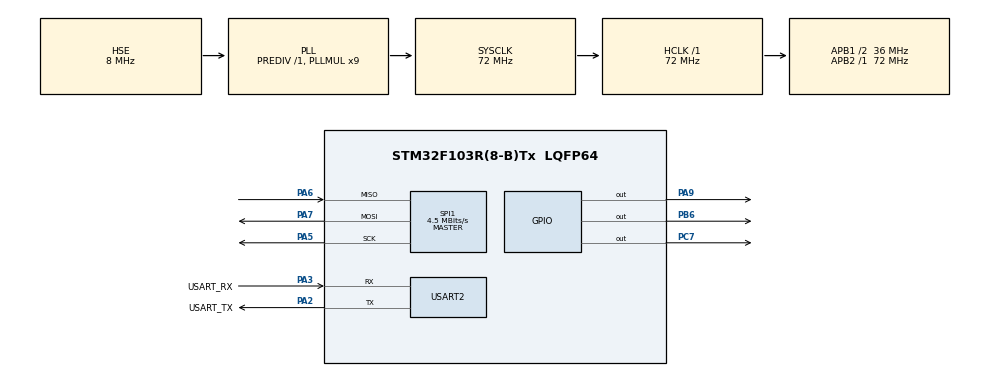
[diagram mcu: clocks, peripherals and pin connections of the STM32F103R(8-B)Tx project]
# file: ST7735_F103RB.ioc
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Dma.Request0=USART2_RX
Dma.USART2_RX.0.Direction=DMA_PERIPH_TO_MEMORY
Dma.USART2_RX.0.Instance=DMA1_Channel6
Dma.USART2_RX.0.MemDataAlignment=DMA_MDATAALIGN_BYTE
Dma.USART2_RX.0.MemInc=DMA_MINC_ENABLE
Dma.USART2_RX.0.Mode=DMA_CIRCULAR
Dma.USART2_RX.0.PeriphDataAlignment=DMA_PDATAALIGN_BYTE
Dma.USART2_RX.0.PeriphInc=DMA_PINC_DISABLE
Dma.USART2_RX.0.Priority=DMA_PRIORITY_LOW
Mcu.Family=STM32F1
Mcu.Name=STM32F103R(8-B)Tx
Mcu.Package=LQFP64
NVIC.DMA1_Channel6_IRQn=true\:0\:0\:false\:false\:true\:false\:true\:true
NVIC.PriorityGroup=NVIC_PRIORITYGROUP_4
NVIC.USART2_IRQn=true\:0\:0\:false\:false\:true\:true\:true\:true
PA13.GPIO_Label=TMS
PA13.Mode=Serial_Wire
PA13.Signal=SYS_JTMS-SWDIO
PA14.GPIO_Label=TCK
PA14.Mode=Serial_Wire
PA14.Signal=SYS_JTCK-SWCLK
PA2.GPIO_Label=USART_TX
PA2.GPIO_Mode=GPIO_MODE_AF_PP
PA2.GPIO_PuPd=GPIO_NOPULL
PA2.GPIO_Speed=GPIO_SPEED_FREQ_LOW
PA2.Mode=Asynchronous
PA2.Signal=USART2_TX
PA3.GPIO_Label=USART_RX
PA3.GPIO_Mode=GPIO_MODE_AF_PP
PA3.GPIO_PuPd=GPIO_NOPULL
PA3.GPIO_Speed=GPIO_SPEED_FREQ_LOW
PA3.Mode=Asynchronous
PA3.Signal=USART2_RX
PA5.Mode=Full_Duplex_Master
PA5.Signal=SPI1_SCK
PA6.Mode=Full_Duplex_Master
PA6.Signal=SPI1_MISO
PA7.Mode=Full_Duplex_Master
PA7.Signal=SPI1_MOSI
PA9.Signal=GPIO_Output
PB3.GPIO_Label=SWO
PB3.Signal=SYS_JTDO-TRACESWO
PB6.Signal=GPIO_Output
PC14-OSC32_IN.Mode=LSE-External-Oscillator
PC14-OSC32_IN.Signal=RCC_OSC32_IN
PC15-OSC32_OUT.Mode=LSE-External-Oscillator
PC15-OSC32_OUT.Signal=RCC_OSC32_OUT
PC7.Signal=GPIO_Output
PD0-OSC_IN.Mode=HSE-External-Oscillator
PD0-OSC_IN.Signal=RCC_OSC_IN
PD1-OSC_OUT.Mode=HSE-External-Oscillator
PD1-OSC_OUT.Signal=RCC_OSC_OUT
ProjectManager.HeapSize=0x200
ProjectManager.StackSize=0x400
ProjectManager.TargetToolchain=STM32CubeIDE
RCC.AHBFreq_Value=72000000
RCC.APB1CLKDivider=RCC_HCLK_DIV2
RCC.APB1Freq_Value=36000000
RCC.APB1TimFreq_Value=72000000
RCC.APB2Freq_Value=72000000
RCC.APB2TimFreq_Value=72000000
RCC.HCLKFreq_Value=72000000
RCC.PLLMUL=RCC_PLL_MUL9
RCC.PLLSourceVirtual=RCC_PLLSOURCE_HSE
RCC.RTCClockSelection=RCC_RTCCLKSOURCE_LSE
RCC.SYSCLKFreq_VALUE=72000000
RCC.SYSCLKSource=RCC_SYSCLKSOURCE_PLLCLK
RCC.USBFreq_Value=72000000
SPI1.BaudRatePrescaler=SPI_BAUDRATEPRESCALER_16
SPI1.CalculateBaudRate=4.5 MBits/s
SPI1.Direction=SPI_DIRECTION_2LINES
SPI1.Mode=SPI_MODE_MASTER
SPI1.VirtualType=VM_MASTER
USART2.VirtualMode=VM_ASYNC
board=NUCLEO-F103RB

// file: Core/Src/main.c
/* USER CODE BEGIN Header */
/**
  ******************************************************************************
  * @file           : main.c
  * @brief          : Main program body
  ******************************************************************************
  * @attention
  *
  * Copyright (c) 2024 STMicroelectronics.
  * All rights reserved.
  *
  * This software is licensed under terms that can be found in the LICENSE file
  * in the root directory of this software component.
  * If no LICENSE file comes with this software, it is provided AS-IS.
  *
  ******************************************************************************
  */
/* USER CODE END Header */
#include "main.h"

/* USER CODE BEGIN Includes */
#include "TFT_MENU.h"
#include "ST7735.h"
#include "stdio.h"
#include "GFX_FUNCTIONS.h"
/* USER CODE END Includes */

/* USER CODE BEGIN PD */
#define UART_RX_BUFFER_SIZE  40
/* USER CODE END PD */

SPI_HandleTypeDef hspi1;

UART_HandleTypeDef huart2;
DMA_HandleTypeDef hdma_usart2_rx;

/* USER CODE BEGIN PV */
uint8_t UART2_rxBuffer[UART_RX_BUFFER_SIZE] = {0};
uint8_t rxBuffer[UART_RX_BUFFER_SIZE] = {0};
uint8_t posY = 10;
/* USER CODE END PV */

void SystemClock_Config(void);
static void MX_GPIO_Init(void);
static void MX_DMA_Init(void);
static void MX_USART2_UART_Init(void);
static void MX_SPI1_Init(void);

int main(void)
{

  /* MCU Configuration--------------------------------------------------------*/

  /* Reset of all peripherals, Initializes the Flash interface and the Systick. */
  HAL_Init();

  /* Configure the system clock */
  SystemClock_Config();

  /* Initialize all configured peripherals */
  MX_GPIO_Init();
  MX_DMA_Init();
  MX_USART2_UART_Init();
  MX_SPI1_Init();
  /* USER CODE BEGIN 2 */
  //HAL_UART_Receive_DMA(&huart2, UART2_rxBuffer, 12);
  HAL_UARTEx_ReceiveToIdle_DMA(&huart2, UART2_rxBuffer, UART_RX_BUFFER_SIZE);

  ST7735_Init(0);
  fillScreen(BLACK);
  //HomeMenu();
  /* USER CODE END 2 */

  /* Infinite loop */
  while (1)
  {

  }
}

void SystemClock_Config(void)
{
  RCC_OscInitTypeDef RCC_OscInitStruct = {0};
  RCC_ClkInitTypeDef RCC_ClkInitStruct = {0};

  /** Initializes the RCC Oscillators according to the specified parameters
  * in the RCC_OscInitTypeDef structure.
  */
  RCC_OscInitStruct.OscillatorType = RCC_OSCILLATORTYPE_HSE;
  RCC_OscInitStruct.HSEState = RCC_HSE_ON;
  RCC_OscInitStruct.HSEPredivValue = RCC_HSE_PREDIV_DIV1;
  RCC_OscInitStruct.HSIState = RCC_HSI_ON;
  RCC_OscInitStruct.PLL.PLLState = RCC_PLL_ON;
  RCC_OscInitStruct.PLL.PLLSource = RCC_PLLSOURCE_HSE;
  RCC_OscInitStruct.PLL.PLLMUL = RCC_PLL_MUL9;
  if (HAL_RCC_OscConfig(&RCC_OscInitStruct) != HAL_OK)
  {
    Error_Handler();
  }

  /** Initializes the CPU, AHB and APB buses clocks
  */
  RCC_ClkInitStruct.ClockType = RCC_CLOCKTYPE_HCLK|RCC_CLOCKTYPE_SYSCLK
                              |RCC_CLOCKTYPE_PCLK1|RCC_CLOCKTYPE_PCLK2;
  RCC_ClkInitStruct.SYSCLKSource = RCC_SYSCLKSOURCE_PLLCLK;
  RCC_ClkInitStruct.AHBCLKDivider = RCC_SYSCLK_DIV1;
  RCC_ClkInitStruct.APB1CLKDivider = RCC_HCLK_DIV2;
  RCC_ClkInitStruct.APB2CLKDivider = RCC_HCLK_DIV1;

  if (HAL_RCC_ClockConfig(&RCC_ClkInitStruct, FLASH_LATENCY_2) != HAL_OK)
  {
    Error_Handler();
  }
}

static void MX_SPI1_Init(void)
{

  /* SPI1 parameter configuration*/
  hspi1.Instance = SPI1;
  hspi1.Init.Mode = SPI_MODE_MASTER;
  hspi1.Init.Direction = SPI_DIRECTION_2LINES;
  hspi1.Init.DataSize = SPI_DATASIZE_8BIT;
  hspi1.Init.CLKPolarity = SPI_POLARITY_LOW;
  hspi1.Init.CLKPhase = SPI_PHASE_1EDGE;
  hspi1.Init.NSS = SPI_NSS_SOFT;
  hspi1.Init.BaudRatePrescaler = SPI_BAUDRATEPRESCALER_16;
  hspi1.Init.FirstBit = SPI_FIRSTBIT_MSB;
  hspi1.Init.TIMode = SPI_TIMODE_DISABLE;
  hspi1.Init.CRCCalculation = SPI_CRCCALCULATION_DISABLE;
  hspi1.Init.CRCPolynomial = 10;
  if (HAL_SPI_Init(&hspi1) != HAL_OK)
  {
    Error_Handler();
  }

}

static void MX_USART2_UART_Init(void)
{

  huart2.Instance = USART2;
  huart2.Init.BaudRate = 115200;
  huart2.Init.WordLength = UART_WORDLENGTH_8B;
  huart2.Init.StopBits = UART_STOPBITS_1;
  huart2.Init.Parity = UART_PARITY_NONE;
  huart2.Init.Mode = UART_MODE_TX_RX;
  huart2.Init.HwFlowCtl = UART_HWCONTROL_NONE;
  huart2.Init.OverSampling = UART_OVERSAMPLING_16;
  if (HAL_UART_Init(&huart2) != HAL_OK)
  {
    Error_Handler();
  }

}

static void MX_DMA_Init(void)
{

  /* DMA controller clock enable */
  __HAL_RCC_DMA1_CLK_ENABLE();

  /* DMA interrupt init */
  /* DMA1_Channel6_IRQn interrupt configuration */
  HAL_NVIC_SetPriority(DMA1_Channel6_IRQn, 0, 0);
  HAL_NVIC_EnableIRQ(DMA1_Channel6_IRQn);

}

static void MX_GPIO_Init(void)
{
  GPIO_InitTypeDef GPIO_InitStruct = {0};

  /* GPIO Ports Clock Enable */
  __HAL_RCC_GPIOC_CLK_ENABLE();
  __HAL_RCC_GPIOD_CLK_ENABLE();
  __HAL_RCC_GPIOA_CLK_ENABLE();
  __HAL_RCC_GPIOB_CLK_ENABLE();

  /*Configure GPIO pin Output Level */
  HAL_GPIO_WritePin(GPIOC, GPIO_PIN_7, GPIO_PIN_RESET);

  /*Configure GPIO pin Output Level */
  HAL_GPIO_WritePin(GPIOA, GPIO_PIN_9, GPIO_PIN_RESET);

  /*Configure GPIO pin Output Level */
  HAL_GPIO_WritePin(GPIOB, GPIO_PIN_6, GPIO_PIN_RESET);

  /*Configure GPIO pin : PC7 */
  GPIO_InitStruct.Pin = GPIO_PIN_7;
  GPIO_InitStruct.Mode = GPIO_MODE_OUTPUT_PP;
  GPIO_InitStruct.Pull = GPIO_NOPULL;
  GPIO_InitStruct.Speed = GPIO_SPEED_FREQ_LOW;
  HAL_GPIO_Init(GPIOC, &GPIO_InitStruct);

  /*Configure GPIO pin : PA9 */
  GPIO_InitStruct.Pin = GPIO_PIN_9;
  GPIO_InitStruct.Mode = GPIO_MODE_OUTPUT_PP;
  GPIO_InitStruct.Pull = GPIO_NOPULL;
  GPIO_InitStruct.Speed = GPIO_SPEED_FREQ_LOW;
  HAL_GPIO_Init(GPIOA, &GPIO_InitStruct);

  /*Configure GPIO pin : PB6 */
  GPIO_InitStruct.Pin = GPIO_PIN_6;
  GPIO_InitStruct.Mode = GPIO_MODE_OUTPUT_PP;
  GPIO_InitStruct.Pull = GPIO_NOPULL;
  GPIO_InitStruct.Speed = GPIO_SPEED_FREQ_LOW;
  HAL_GPIO_Init(GPIOB, &GPIO_InitStruct);

}

/* USER CODE BEGIN 4 */
//dma fxed length
// void HAL_UART_RxCpltCallback(UART_HandleTypeDef *huart) {
//   HAL_UART_Transmit(&huart1, UART2_rxBuffer, 12, 100);
//   HAL_UART_Receive_DMA(&huart2, UART2_rxBuffer, 12);
// }

void HAL_UARTEx_RxEventCallback(UART_HandleTypeDef *huart, uint16_t Size) {
  HAL_UART_DMAStop(&huart2);

  UART2_rxBuffer[Size-1] = '\0';

  ST7735_WriteString(0, posY, "                  ", Font_7x10, WHITE, BLACK);
  ST7735_WriteString(0, posY, UART2_rxBuffer, Font_7x10, WHITE, BLACK);

  HAL_UART_Transmit(&huart2, UART2_rxBuffer, Size, 10);

  for (uint8_t i = 0; i < UART_RX_BUFFER_SIZE; i ++) {
    UART2_rxBuffer[i] = '\0';
  }

  posY += 15;
  if (posY >= 150) posY = 10;

  HAL_UARTEx_ReceiveToIdle_DMA(&huart2, UART2_rxBuffer, UART_RX_BUFFER_SIZE);
}

/* USER CODE END 4 */

void Error_Handler(void)
{
  __disable_irq();
  while (1)
  {
  }
}
